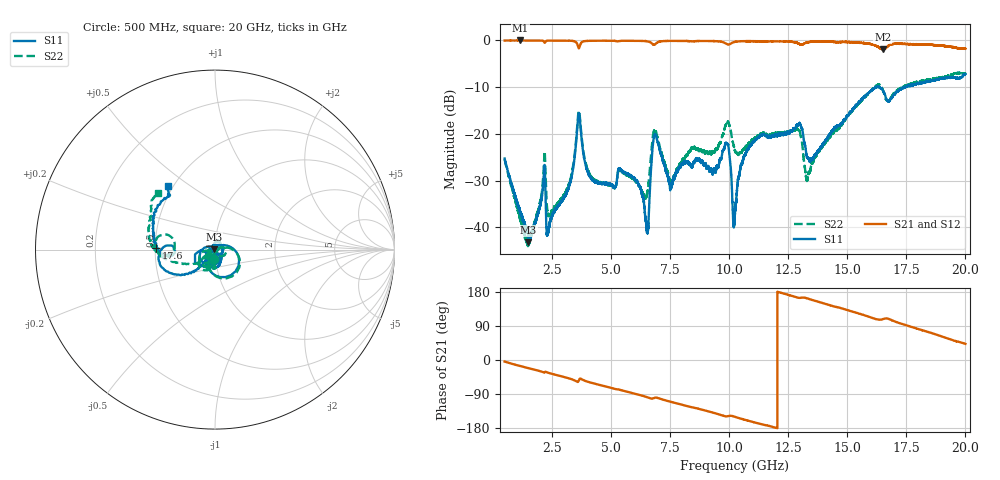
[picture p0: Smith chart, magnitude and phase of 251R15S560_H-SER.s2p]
!{251R15S560}
!Johanson Technology Inc.
!www.johansontechnology.com
!Test Board Conditions:
!Substrate Type  RO4350B
!Substrate Thickness  20 mil
!Substrate Dk  3.66
!TL Type: GCPW
!TL Trace Width  34 mil
!TL Gap  10 mil
!Electrode orientation  Horizontal
!DUT TOPOLOGY	SERIES
!Mounting Pad LxW  26x52 mil
! Created Thu Mar 12 17:15:12 2020
# mhz S ma R 50
! 2 Port Network Data from SP1.SP block
! freq  magS11  angS11  magS21  angS21  magS12  angS12  magS22  angS22
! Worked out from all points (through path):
!   19501 points, 500 MHz to 20 GHz, reference 50 ohm
!   highest |S21| = -0.01 dB at 1.166 GHz (marker M1); lowest = -1.9 dB at 16.5 GHz (marker M2)
!   group delay of S21, straight-line fit = 43.5 ps
!   lowest |S11| = -43.2 dB at 1.501 GHz (marker M3), VSWR 1.01, Z = 49.3 + j0.143 ohm
!   |S11| at or under -10 dB: start of sweep to 16.19 GHz; 16.19214 GHz to 16.19985 GHz (7.713 MHz wide, 0.0476 % of centre); 16.36 GHz to 17.44 GHz (1.077 GHz wide, 6.37 % of centre) (the widest 3 of 9)
!   |S22| runs from -44.0 to -6.9 dB; largest |S21 - S12| = 0.023
!   S11 on the Smith chart (normalised r, x): 500 MHz: 0.98, -0.11; 17.6 GHz: 0.50, +0.01; 20 GHz: 0.47, +0.41
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500  0.05458 -95.1  0.9974 -4.1  0.9979 -4.0  0.05358 -94.0
1166  0.01426 -120.1  0.9992 -16.0  0.9977 -16.0  0.01174 -93.2
1501  0.006953 168.0  0.9983 -21.4  0.9977 -21.3  0.007242 -20.4
2154  0.03466 52.2  0.9815 -32.9  0.9814 -32.9  0.0431 20.0
2363  0.009285 134.4  0.9948 -34.1  0.9949 -34.1  0.0134 -24.3
3750  0.09281 -116.8  0.9497 -50.4  0.9503 -50.4  0.09788 -111.0
4277  0.03129 -148.1  0.9908 -61.9  0.9906 -61.9  0.03249 -143.2
5914  0.03451 -177.2  0.9915 -87.3  0.9916 -87.3  0.03355 -168.9
6516  0.009605 -153.3  0.9796 -97.8  0.981 -97.8  0.02237 -117.1
6801  0.08814 -111.9  0.9007 -101.2  0.9004 -101.1  0.1033 -112.6
7000  0.07851 -174.7  0.9588 -100.5  0.9611 -100.5  0.08569 -162.5
7553  0.02753 103.3  0.9888 -110.6  0.9884 -110.6  0.02951 -133.7
9902  0.07823 -98.5  0.9144 -148.7  0.9145 -148.7  0.13 -118.6
10250  0.01398 -61.6  0.9671 -150.0  0.9668 -150.0  0.06577 -135.1
10568  0.05061 -55.3  0.9814 -156.0  0.9819 -156.0  0.06638 -106.2
11295  0.09421 -78.0  0.9787 -168.3  0.9777 -168.3  0.0971 -92.7
12953  0.1282 -143.6  0.9209 164.2  0.9219 164.1  0.1114 -123.9
13500  0.05482 -146.6  0.9679 158.6  0.9695 158.8  0.04907 -95.6
16505  0.2909 178.2  0.8008 107.7  0.7988 107.7  0.2956 163.9
16750  0.2226 -177.6  0.8819 108.7  0.8728 108.3  0.2265 179.0
17599  0.3303 178.1  0.9097 89.6  0.9152 89.3  0.3361 179.6
20000  0.4383 126.3  0.8176 42.5  0.8149 42.7  0.4445 135.3
